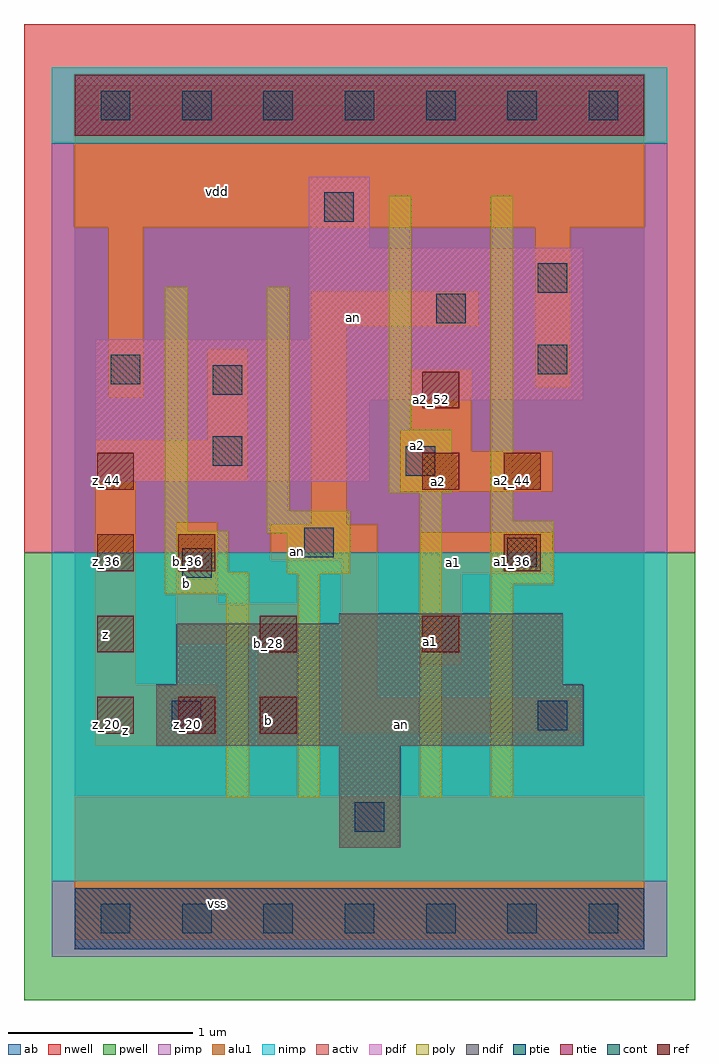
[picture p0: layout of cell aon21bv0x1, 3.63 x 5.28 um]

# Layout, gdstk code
import gdstk
lib = gdstk.Library(unit=1e-6, precision=2.5e-09)
def R(c, l, rs):  # rectangles x0, y0, x1, y1
    for r in rs: c.add(gdstk.rectangle(r[:2], r[2:], *l))
def A(c, l, x, y, w, h, nx, ny, dx, dy):  # array of equal rectangles
    R(c, l, [(x+i*dx, y+j*dy, x+i*dx+w, y+j*dy+h) for i in range(nx) for j in range(ny)])
ndif = (3, 0)
pdif = (4, 0)
ntie = (5, 0)
ptie = (6, 0)
ref = (24, 0)
cont = (25, 0)
pwell = (41, 0)
nwell = (42, 0)
activ = (43, 0)
pimp = (44, 0)
nimp = (45, 0)
poly = (46, 0)
alu1 = (49, 0)
ab = (63, 0)

aon21bv0x1 = lib.new_cell('aon21bv0x1')
R(aon21bv0x1, ndif, [(1.43,0.385,1.76,0.935), (0.44,0.935,2.75,1.265), (0.55,1.265,2.64,1.595), (1.43,1.595,2.64,1.65)])
R(aon21bv0x1, pdif, [(0.11,2.365,1.595,2.805), (0.11,2.805,2.75,3.135), (1.265,3.135,2.75,3.63), (1.265,3.63,1.595,4.015)])
R(aon21bv0x1, ntie, [(0,4.235,3.08,4.565)])
R(aon21bv0x1, ptie, [(0,-0.165,3.08,0.165)])
A(aon21bv0x1, ref, 0.12, 1, 0.2, 0.2, 3, 1, 0.44, 0)
A(aon21bv0x1, ref, 0.12, 1.44, 0.2, 0.2, 3, 1, 0.88, 0)
R(aon21bv0x1, ref, [(0.12,1.88,0.32,2.08), (0.56,1.88,0.76,2.08), (2.32,1.88,2.52,2.08), (0.12,2.32,0.32,2.52), (1.88,2.32,2.08,2.52), (2.32,2.32,2.52,2.52), (1.88,2.76,2.08,2.96)])
A(aon21bv0x1, cont, 0.14, -0.08, 0.16, 0.16, 7, 2, 0.44, 4.4)
R(aon21bv0x1, cont, [(1.515,0.47,1.675,0.63), (0.525,1.02,0.685,1.18), (2.505,1.02,2.665,1.18), (0.58,1.845,0.74,2.005), (2.34,1.9,2.5,2.06), (1.24,1.955,1.4,2.115), (1.79,2.395,1.95,2.555), (0.745,2.45,0.905,2.61), (0.745,2.835,0.905,2.995), (0.195,2.89,0.355,3.05), (2.505,2.945,2.665,3.105), (1.955,3.22,2.115,3.38), (2.505,3.385,2.665,3.545), (1.35,3.77,1.51,3.93)])
R(aon21bv0x1, pwell, [(-0.275,-0.44,3.355,1.98)])
R(aon21bv0x1, nwell, [(-0.275,1.98,3.355,4.84)])
R(aon21bv0x1, activ, [(0,-0.165,3.08,0.165), (1.43,0.385,1.76,0.935), (0.44,0.935,2.75,1.265), (0.55,1.265,2.64,1.595), (1.43,1.595,2.64,1.65), (0.11,2.365,1.595,2.805), (0.11,2.805,2.75,3.135), (1.265,3.135,2.75,3.63), (1.265,3.63,1.595,4.015), (0,4.235,3.08,4.565)])
R(aon21bv0x1, pimp, [(-0.125,-0.205,3.205,0.205), (-0.125,1.98,3.205,4.195)])
R(aon21bv0x1, nimp, [(-0.125,0.205,3.205,1.98), (-0.125,4.195,3.205,4.605)])
R(aon21bv0x1, poly, [(0.82,0.655,0.94,1.755), (1.205,0.655,1.325,1.865), (1.865,0.655,1.985,2.305), (2.25,0.655,2.37,1.81), (0.49,1.755,0.94,1.875), (2.25,1.81,2.59,2.15), (1.15,1.865,1.49,2.085), (0.49,1.875,0.83,2.095), (1.04,2.085,1.49,2.205), (0.49,2.095,0.61,3.415), (2.25,2.15,2.37,3.91), (1.04,2.205,1.16,3.415), (1.7,2.305,2.04,2.645), (1.7,2.645,1.82,3.91)])
R(aon21bv0x1, alu1, [(0,-0.11,3.08,0.66), (0.11,0.935,0.77,1.265), (0.99,0.935,1.21,1.485), (1.445,1.005,2.735,1.195), (1.445,1.195,1.635,1.94), (0.11,1.265,0.33,2.365), (1.87,1.375,2.09,1.87), (0.55,1.485,1.21,1.705), (0.55,1.705,0.77,2.145), (1.87,1.87,2.585,2.09), (1.06,1.94,1.635,2.13), (1.28,2.13,1.47,3.205), (1.76,2.31,2.585,2.53), (0.11,2.365,0.935,2.585), (1.76,2.53,2.145,2.64), (0.715,2.585,0.935,3.08), (1.815,2.64,2.145,2.97), (0.18,2.82,0.37,3.74), (2.49,2.875,2.68,3.74), (1.28,3.205,2.185,3.395), (0,3.74,3.08,4.51)])
R(aon21bv0x1, ab, [(0,0,3.08,4.4)])
aon21bv0x1.add(gdstk.Label('vss', (0.77,0.0825), layer=49, texttype=0))
aon21bv0x1.add(gdstk.Label('an', (1.7675,1.0525), layer=49, texttype=0))
aon21bv0x1.add(gdstk.Label('a1', (1.925,1.4975), layer=49, texttype=0))
aon21bv0x1.add(gdstk.Label('a1', (2.0475,1.925), layer=49, texttype=0))
aon21bv0x1.add(gdstk.Label('b', (1.045,1.0725), layer=49, texttype=0))
aon21bv0x1.add(gdstk.Label('z', (0.275,1.0175), layer=49, texttype=0))
aon21bv0x1.add(gdstk.Label('an', (1.2025,1.9875), layer=49, texttype=0))
aon21bv0x1.add(gdstk.Label('a2', (1.965,2.365), layer=49, texttype=0))
aon21bv0x1.add(gdstk.Label('a2', (1.855,2.5575), layer=49, texttype=0))
aon21bv0x1.add(gdstk.Label('b', (0.605,1.815), layer=49, texttype=0))
aon21bv0x1.add(gdstk.Label('z', (0.165,1.54), layer=49, texttype=0))
aon21bv0x1.add(gdstk.Label('an', (1.505,3.2525), layer=49, texttype=0))
aon21bv0x1.add(gdstk.Label('vdd', (0.77,3.9325), layer=49, texttype=0))
aon21bv0x1.add(gdstk.Label('z_20', (0.61,1.05), layer=24, texttype=0))
aon21bv0x1.add(gdstk.Label('b_36', (0.61,1.93), layer=24, texttype=0))
aon21bv0x1.add(gdstk.Label('b_20', (1.05,1.05), layer=24, texttype=0))
aon21bv0x1.add(gdstk.Label('b_28', (1.05,1.49), layer=24, texttype=0))
aon21bv0x1.add(gdstk.Label('a1_28', (1.93,1.49), layer=24, texttype=0))
aon21bv0x1.add(gdstk.Label('a2_44', (1.93,2.37), layer=24, texttype=0))
aon21bv0x1.add(gdstk.Label('a2_52', (1.93,2.81), layer=24, texttype=0))
aon21bv0x1.add(gdstk.Label('z_20', (0.17,1.05), layer=24, texttype=0))
aon21bv0x1.add(gdstk.Label('z_28', (0.17,1.49), layer=24, texttype=0))
aon21bv0x1.add(gdstk.Label('z_36', (0.17,1.93), layer=24, texttype=0))
aon21bv0x1.add(gdstk.Label('z_44', (0.17,2.37), layer=24, texttype=0))
aon21bv0x1.add(gdstk.Label('a1_36', (2.37,1.93), layer=24, texttype=0))
aon21bv0x1.add(gdstk.Label('a2_44', (2.37,2.37), layer=24, texttype=0))

lib.write_gds('aon21bv0x1.gds')
